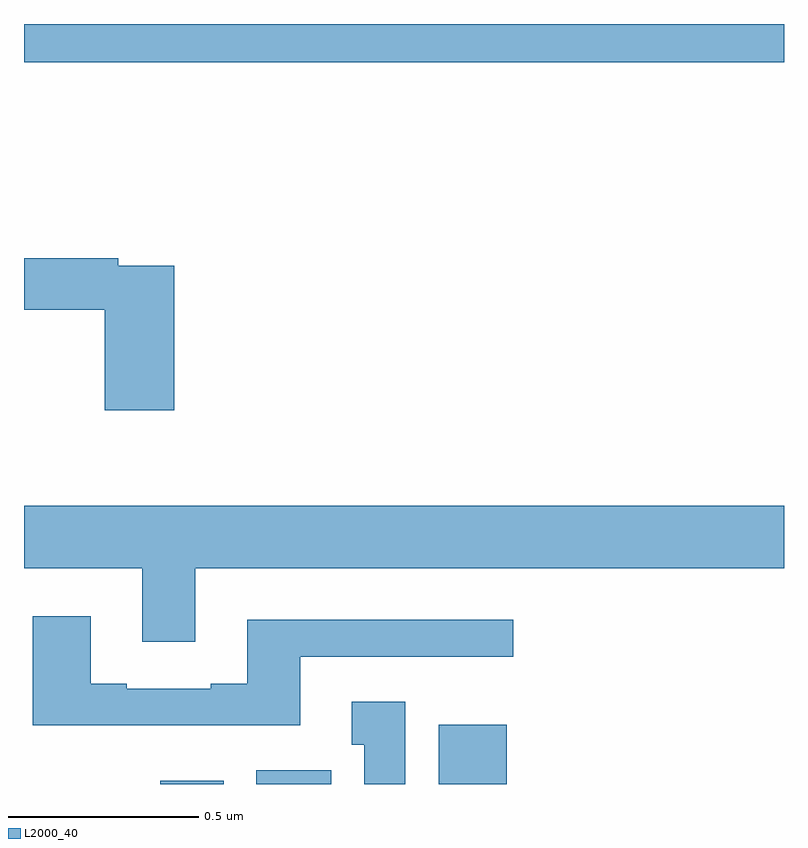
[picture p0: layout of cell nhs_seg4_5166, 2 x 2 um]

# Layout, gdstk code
import gdstk
lib = gdstk.Library(unit=1e-6, precision=1e-09)
def R(c, l, rs):  # rectangles x0, y0, x1, y1
    for r in rs: c.add(gdstk.rectangle(r[:2], r[2:], *l))
def P(c, l, *ps):  # polygons
    for p in ps: c.add(gdstk.Polygon(p, *l))
L2000_40 = (2000, 40)

nhs_seg4_5166 = lib.new_cell('nhs_seg4_5166')
R(nhs_seg4_5166, L2000_40, [(174.359,814.9,174.526,814.909), (174.611,814.9,174.808,814.936), (175.091,814.9,175.27,815.056), (174,816.8,176,816.9)])
P(nhs_seg4_5166, L2000_40, [(174.395,816.264),(174.248,816.264),(174.248,816.284),(174,816.284),(174,816.148),(174.212,816.148),(174.212,815.883),(174.395,815.883)],
  [(174.451,815.468),(176,815.468),(176,815.632),(174,815.632),(174,815.468),(174.311,815.468),(174.311,815.274),(174.451,815.274)],
  [(174.727,815.235),(175.288,815.235),(175.288,815.332),(174.587,815.332),(174.587,815.164),(174.491,815.164),(174.491,815.151),(174.271,815.151),(174.271,815.164),(174.175,815.164),(174.175,815.341),(174.023,815.341),(174.023,815.054),(174.727,815.054)],
  [(175.003,815.116),(174.863,815.116),(174.863,815.003),(174.896,815.003),(174.896,814.9),(175.003,814.9)])

lib.write_gds('nhs_seg4_5166.gds')
